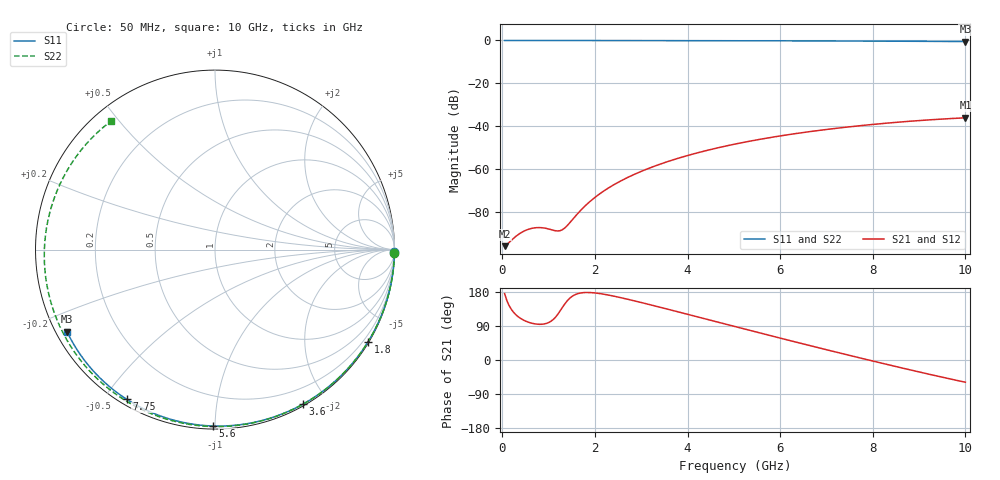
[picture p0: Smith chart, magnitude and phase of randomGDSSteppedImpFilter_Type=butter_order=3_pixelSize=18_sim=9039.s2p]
! freq	dB(S11)	phase(S11)	dB(S12)	phase(S12)
!  dB(S21)	phase(S21)	dB(S22)	phase(S22)
!S-par simulation data
#  GHz  S  DB  R 50
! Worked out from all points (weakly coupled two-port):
!   200 points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, 50 MHz to 10 GHz, reference 50 ohm
!   highest |S21| = -36.15 dB at 10 GHz (marker M1); lowest = -96.1 dB at 50 MHz (marker M2)
!   lowest |S11| = -0.5 dB at 10 GHz (marker M3), VSWR 34.04, Z = 1.57 - j13 ohm
!   |S11| at or under -10 dB: nowhere
!   |S22| runs from -0.7 to 0.0 dB; largest |S21 - S12| = 0
!   S11 on the Smith chart (normalised r, x): 50 MHz: open; 1.8 GHz: 0.03, -3.61; 3.6 GHz: 0.02, -1.72; 5.6 GHz: 0.02, -0.99; 7.75 GHz: 0.02, -0.57; 10 GHz: 0.03, -0.26
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0.05  -0.00 -0.9  -96.12 175.4  -96.12 175.4  -0.00 -1.2
0.8  -0.01 -13.9  -87.44 94.2  -87.44 94.2  -0.02 -19.1
1.65  -0.04 -28.5  -80.37 175.7  -80.37 175.7  -0.05 -39.0
1.75  -0.04 -30.1  -78.12 177.8  -78.12 177.8  -0.05 -41.3
1.8  -0.04 -31.0  -77.07 178.1  -77.07 178.1  -0.05 -42.4
2.1  -0.05 -36.0  -71.73 175.4  -71.73 175.4  -0.06 -49.3
2.45  -0.05 -41.8  -66.92 167.4  -66.92 167.4  -0.07 -57.2
2.9  -0.06 -49.2  -62.10 154.7  -62.10 154.7  -0.09 -67.2
3.4  -0.08 -57.2  -57.86 139.4  -57.86 139.4  -0.10 -78.1
3.6  -0.08 -60.4  -56.39 133.2  -56.39 133.2  -0.11 -82.4
4.3  -0.10 -71.3  -52.03 111.2  -52.03 111.2  -0.14 -97.3
5.05  -0.13 -82.6  -48.31 87.5  -48.31 87.5  -0.17 -113.0
5.6  -0.15 -90.6  -46.05 70.2  -46.05 70.2  -0.21 -124.4
6.15  -0.18 -98.5  -44.11 53.1  -44.11 53.1  -0.24 -135.8
6.7  -0.21 -106.2  -42.42 36.2  -42.42 36.2  -0.29 -147.5
7.25  -0.24 -113.8  -40.95 19.6  -40.95 19.6  -0.34 -159.4
7.75  -0.28 -120.6  -39.77 4.6  -39.77 4.6  -0.39 -170.7
8.35  -0.33 -128.7  -38.55 -13.0  -38.55 -13.0  -0.47 175.0
8.8  -0.37 -134.7  -37.75 -25.9  -37.75 -25.9  -0.53 163.6
9.2  -0.42 -140.1  -37.13 -37.1  -37.13 -37.1  -0.59 152.9
9.6  -0.46 -145.5  -36.60 -48.1  -36.60 -48.1  -0.65 141.4
10  -0.51 -150.9  -36.15 -58.7  -36.15 -58.7  -0.71 129.2
